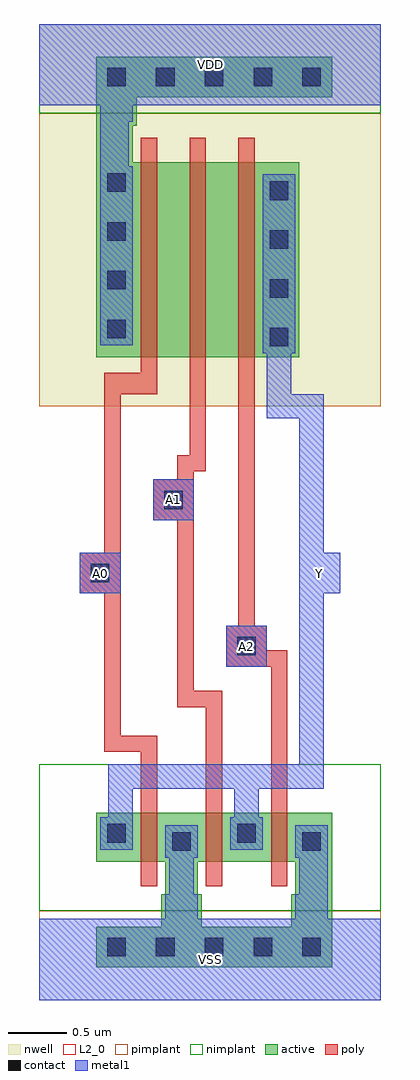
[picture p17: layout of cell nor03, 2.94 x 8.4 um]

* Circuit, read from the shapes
.subckt nor03 A0 A1 A2 VDD VSS Y
M1 VSS A0 Y VSS nfet w=0.42u l=0.14u
M2 Y A1 VSS VSS nfet w=0.42u l=0.14u
M3 VSS A2 Y VSS nfet w=0.42u l=0.14u
M4 n1 A0 VDD VDD pfet w=1.68u l=0.14u
M5 n2 A1 n1 VDD pfet w=1.68u l=0.14u
M6 Y A2 n2 VDD pfet w=1.68u l=0.14u
.ends

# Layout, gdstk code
from math import pi, radians
import gdstk
lib = gdstk.Library(unit=1e-6, precision=1e-09)
def R(c, l, rs):  # rectangles x0, y0, x1, y1
    for r in rs: c.add(gdstk.rectangle(r[:2], r[2:], *l))
def A(c, l, x, y, w, h, nx, ny, dx, dy):  # array of equal rectangles
    R(c, l, [(x+i*dx, y+j*dy, x+i*dx+w, y+j*dy+h) for i in range(nx) for j in range(ny)])
def P(c, l, *ps):  # polygons
    for p in ps: c.add(gdstk.Polygon(p, *l))
L2_0 = (2, 0)
nwell = (3, 0)
active = (6, 0)
poly = (17, 0)
pimplant = (25, 0)
nimplant = (26, 0)
contact = (30, 0)
metal1 = (31, 0)

adk_poly_m1 = lib.new_cell('ADK_poly_m1')
R(adk_poly_m1, poly, [(-0.175,-0.175,0.175,0.175)])
R(adk_poly_m1, contact, [(-0.08,-0.08,0.08,0.08)])
R(adk_poly_m1, metal1, [(-0.175,-0.175,0.175,0.175)])

nor03 = lib.new_cell('nor03')
R(nor03, L2_0, [(0,0,2.94,2.03)])
R(nor03, nwell, [(0,5.11,2.66,7.63), (0,5.11,2.94,8.4)])
R(nor03, active, [(0.49,0.28,2.52,0.63), (1.05,0.63,1.4,0.91), (2.17,0.63,2.52,0.91), (1.085,0.91,1.365,1.19), (2.205,0.91,2.52,1.19), (0.49,1.19,2.52,1.61), (0.49,1.19,0.875,1.61), (2.135,1.19,2.52,1.61), (0.49,5.53,2.24,7.21), (0.49,5.53,0.875,7.21), (1.855,5.53,2.24,7.21), (0.49,7.21,0.805,7.525), (0.49,7.525,0.84,7.77), (0.49,7.77,2.52,8.12)])
A(nor03, poly, 0.875, 0.98, 0.14, 0.21, 3, 2, 0.56, 0.63)
A(nor03, poly, 0.875, 1.19, 0.14, 0.42, 3, 1, 0.56, 0)
A(nor03, poly, 0.875, 5.32, 0.14, 0.21, 3, 2, 0.42, 1.89)
A(nor03, poly, 0.875, 5.53, 0.14, 1.68, 3, 1, 0.42, 0)
R(nor03, poly, [(1.715,3.22,1.855,5.355)])
P(nor03, poly, [(0.56,3.85),(0.7,3.85),(0.7,5.215),(1.015,5.215),(1.015,5.4),(0.56,5.4)],
  [(1.96,2.87),(1.995,2.87),(1.995,1.785),(2.135,1.785),(2.135,3.01),(1.96,3.01)],
  [(1.19,2.52),(1.435,2.52),(1.435,1.785),(1.575,1.785),(1.575,2.66),(1.33,2.66),(1.33,4.445),(1.19,4.445)],
  [(0.56,2.135),(0.875,2.135),(0.875,1.785),(1.015,1.785),(1.015,2.275),(0.7,2.275),(0.7,3.815),(0.56,3.815)],
  [(1.19,4.48),(1.33,4.48),(1.33,4.55),(1.435,4.55),(1.435,5.355),(1.295,5.355),(1.295,4.69),(1.19,4.69)])
R(nor03, pimplant, [(0,0,2.94,0.77), (0,5.11,2.94,7.63)])
R(nor03, nimplant, [(0,0.77,2.94,2.03), (0,7.63,2.94,8.4)])
A(nor03, contact, 0.585, 0.375, 0.16, 0.16, 5, 2, 0.42, 7.49)
A(nor03, contact, 1.985, 5.625, 0.16, 0.16, 1, 4, 0, 0.42)
A(nor03, contact, 0.585, 5.695, 0.16, 0.16, 1, 4, 0, 0.42)
R(nor03, contact, [(1.145,1.285,1.305,1.445), (2.265,1.285,2.425,1.445), (0.585,1.355,0.745,1.515), (1.705,1.355,1.865,1.515)])
R(nor03, metal1, [(0,0,2.94,0.7), (1.085,0.7,1.365,0.91), (2.205,0.7,2.485,0.91), (1.12,0.91,1.33,1.225), (2.24,0.91,2.485,1.225), (1.085,1.225,1.365,1.505), (2.205,1.225,2.485,1.505), (0.525,1.295,0.805,1.575), (1.645,1.295,1.925,1.575), (2.24,2.33,2.45,3.5), (1.61,2.87,1.96,3.22), (0.35,3.5,0.7,3.85), (2.24,3.5,2.59,3.85), (2.24,3.5,2.59,3.85), (0.98,4.13,1.33,4.48), (1.925,5.565,2.205,7.105), (0.525,5.635,0.805,7.175), (0.525,7.175,0.77,7.56), (0.525,7.56,0.805,7.7), (0,7.7,2.94,8.4)])
P(nor03, metal1, [(1.68,1.82),(2.45,1.82),(2.45,2.54),(2.24,2.54),(2.24,2.03),(1.68,2.03)],
  [(1.96,5.005),(2.24,5.005),(2.24,3.5),(2.45,3.5),(2.45,5.215),(2.17,5.215),(2.17,5.565),(1.96,5.565)],
  [(1.89,2.03),(0.595,2.03),(0.595,1.575),(0.805,1.575),(0.805,1.82),(1.68,1.82),(1.68,1.575),(1.89,1.575)])
nor03.add(gdstk.Reference(adk_poly_m1, (1.785,3.045), rotation=pi, x_reflection=True))
nor03.add(gdstk.Reference(adk_poly_m1, (0.525,3.675), rotation=pi, x_reflection=True))
nor03.add(gdstk.Reference(adk_poly_m1, (1.155,4.305), rotation=pi, x_reflection=True))
nor03.add(gdstk.Label('VSS', (1.47,0.35), layer=131, texttype=0))
nor03.add(gdstk.Label('VDD', (1.47,8.05), layer=131, texttype=0))
nor03.add(gdstk.Label('A0', (0.525,3.675), layer=131, texttype=0))
nor03.add(gdstk.Label('Y', (2.415,3.675), layer=131, texttype=0))
nor03.add(gdstk.Label('A1', (1.155,4.305), layer=131, texttype=0))
nor03.add(gdstk.Label('A2', (1.785,3.045), layer=131, texttype=0))

lib.write_gds('nor03.gds')
